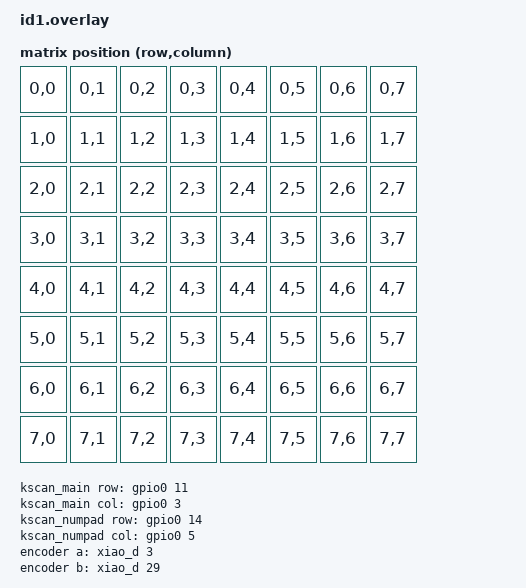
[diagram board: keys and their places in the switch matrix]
// - Main keyboard: 64 keys (8x8 matrix via PCF8575 I/O expander)
// - Numpad: 18 keys (4x5 matrix via second PCF8575 I/O expander)
// - RGB: 82 SK6812 LEDs (64 on main, 18 on numpad)
// - OLED: 0.91" I2C display
// - Encoder: Rotary encoder with switch

#include <dt-bindings/zmk/matrix_transform.h>
#include <dt-bindings/zmk/keys.h>

#include "id1-layouts.dtsi"

/ {
    chosen {
        zmk,physical-layout = &default_layout;
        zmk,kscan = &kscan0;
    };

    

  
    kscan0: kscan_composite {
        compatible = "zmk,kscan-composite";
        rows = <13>; // 8 (main) + 5 (numpad)
        columns = <8>; // Max of 8 (main) and 4 (numpad)
        
        // Main keyboard matrix
        main_matrix {
            kscan = <&kscan_main>;
            row-offset = <0>;
            column-offset = <0>;
        };
        
        // Numpad matrix  
        numpad_matrix {
            kscan = <&kscan_numpad>;
            row-offset = <8>; // Start after main keyboard rows
            column-offset = <0>;
        };
    };

    kscan_main: kscan_main {
        compatible = "zmk,kscan-gpio-matrix"; //we may need to change the driver here
        label = "KSCAN_MAIN";
        wakeup-source;
        
        row-gpios = <&gpio0 11 (GPIO_ACTIVE_HIGH | GPIO_PULL_DOWN)>; // PCF8575 INT pin
        col-gpios = <&gpio0 3 GPIO_ACTIVE_HIGH>; 
        diode-direction = "col2row";
    };

    kscan_numpad: kscan_numpad {
        compatible = "zmk,kscan-gpio-matrix"; 
        label = "KSCAN_NUMPAD";
        wakeup-source;
        
        row-gpios = <&gpio0 14 (GPIO_ACTIVE_HIGH | GPIO_PULL_DOWN)>; // PCF8575 INT pin
        col-gpios = <&gpio0 5 GPIO_ACTIVE_HIGH>; // Placeholder
        
        diode-direction = "col2row";
    };

    // Matrix transform for main keyboard (64 keys in 8x8)
    main_transform: main_transform {
        compatible = "zmk,matrix-transform";
        columns = <8>;
        rows = <8>;
        
        // PLACEHOLDER - Map your actual 64-key layout
        // Replace with your real key positions
        map = <
            RC(0,0) RC(0,1) RC(0,2) RC(0,3) RC(0,4) RC(0,5) RC(0,6) RC(0,7)
            RC(1,0) RC(1,1) RC(1,2) RC(1,3) RC(1,4) RC(1,5) RC(1,6) RC(1,7)
            RC(2,0) RC(2,1) RC(2,2) RC(2,3) RC(2,4) RC(2,5) RC(2,6) RC(2,7)
            RC(3,0) RC(3,1) RC(3,2) RC(3,3) RC(3,4) RC(3,5) RC(3,6) RC(3,7)
            RC(4,0) RC(4,1) RC(4,2) RC(4,3) RC(4,4) RC(4,5) RC(4,6) RC(4,7)
            RC(5,0) RC(5,1) RC(5,2) RC(5,3) RC(5,4) RC(5,5) RC(5,6) RC(5,7)
            RC(6,0) RC(6,1) RC(6,2) RC(6,3) RC(6,4) RC(6,5) RC(6,6) RC(6,7)
            RC(7,0) RC(7,1) RC(7,2) RC(7,3) RC(7,4) RC(7,5) RC(7,6) RC(7,7)
        >;
    };

    encoder: encoder {
        compatible = "alps,ec11";
        label = "ENCODER";
        
        a-gpios = <&xiao_d 3 (GPIO_ACTIVE_HIGH | GPIO_PULL_UP)>;
        b-gpios = <&xiao_d 29 (GPIO_ACTIVE_HIGH | GPIO_PULL_UP)>;
        
        steps = <80>; // Adjustment maybe required
        status = "okay";
    };

    encoder_switch: encoder_switch {
        compatible = "zmk,kscan-gpio-direct";
        label = "ENCODER_SWITCH";
        
        input-gpios = <&xiao_d 28 (GPIO_ACTIVE_LOW | GPIO_PULL_UP)>;
        wakeup-source;
    };
};

&xiao_i2c {
    status = "okay";
    
    pcf8575_main: pcf8575@20 {
        compatible = "nxp,pcf8575";
        reg = <0x20>; // adjust if required
        gpio-controller;
        #gpio-cells = <2>;
        ngpios = <16>;
        label = "PCF8575_MAIN";
    };

    pcf8575_numpad: pcf8575@21 {
        compatible = "nxp,pcf8575";
        reg = <0x21>; // adjust if required
        gpio-controller;
        #gpio-cells = <2>;
        ngpios = <16>;
        label = "PCF8575_NUMPAD";
    };

    // OLED Display - REPLACE I2C address if different
    oled: ssd1306@3c {
        compatible = "solomon,ssd1306fb";
        reg = <0x3c>; // adjust if required
        label = "DISPLAY";
        width = <128>;
        height = <32>;
        segment-offset = <0>;
        page-offset = <0>;
        display-offset = <0>;
        multiplex-ratio = <31>;
        segment-remap;
        com-invdir;
        prechargep = <0x22>;
    };
};

// Main keyboard RGB LEDs - REPLACE SPI pin assignment
&xiao_spi {
    status = "okay";
    
    led_strip_main: ws2812@0 {
        compatible = "worldsemi,ws2812-spi";
        label = "LED_STRIP_MAIN";
        
        reg = <0>;
        spi-max-frequency = <4000000>;
        
        chain-length = <64>; 
        spi-one-frame = <0x70>;
        spi-zero-frame = <0x40>;
        
        color-mapping = <LED_COLOR_ID_GREEN LED_COLOR_ID_RED LED_COLOR_ID_BLUE>;
    };
};

// Numpad RGB LEDs - REPLACE GPIO pin
/ {
    led_strip_numpad: led_strip_numpad {
        compatible = "worldsemi,ws2812-gpio";
        label = "LED_STRIP_NUMPAD";
        
        gpios = <&xiao_d 15 0>;
        chain-length = <18>; 
        
        color-mapping = <LED_COLOR_ID_GREEN LED_COLOR_ID_RED LED_COLOR_ID_BLUE>;
    };
};
